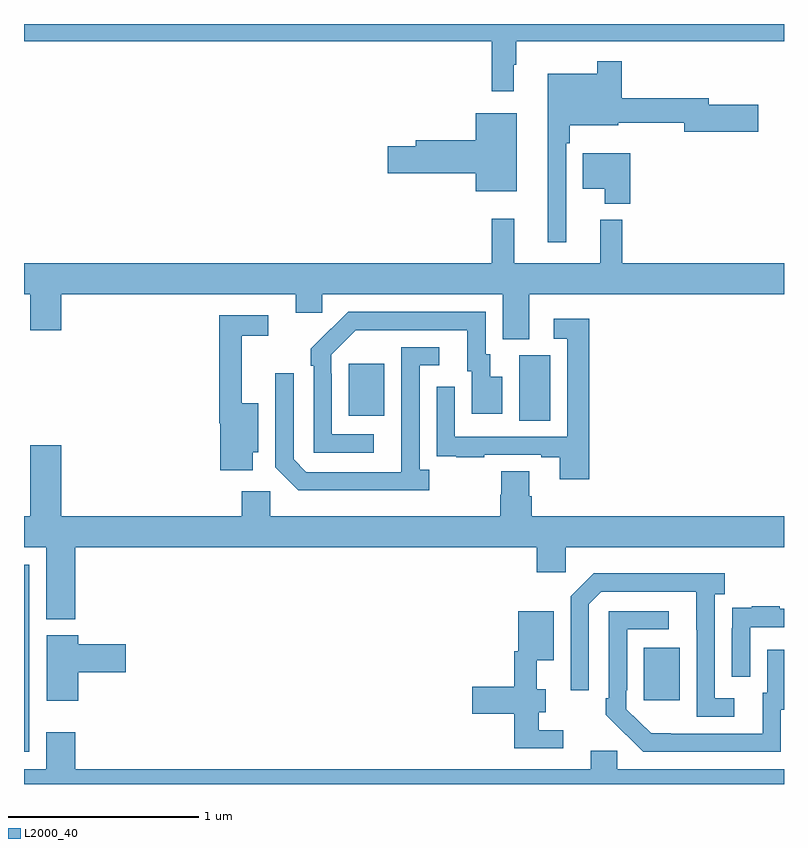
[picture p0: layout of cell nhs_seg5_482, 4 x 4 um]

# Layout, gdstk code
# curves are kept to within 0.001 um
import gdstk
lib = gdstk.Library(unit=1e-6, precision=1e-09)
def R(c, l, rs):  # rectangles x0, y0, x1, y1
    for r in rs: c.add(gdstk.rectangle(r[:2], r[2:], *l))
def P(c, l, *ps):  # polygons
    for p in ps: c.add(gdstk.Polygon(p, *l))
L2000_40 = (2000, 40)

nhs_seg5_482 = lib.new_cell('nhs_seg5_482')
R(nhs_seg5_482, L2000_40, [(141,904.968,141.027,905.952), (144.263,905.241,144.451,905.515), (143.606,906.712,143.77,907.056), (142.709,906.737,142.897,907.012)])
P(nhs_seg5_482, L2000_40, [(143.578,908.585),(143.59,908.585),(143.59,908.708),(145,908.708),(145,908.799),(141,908.799),(141,908.708),(143.461,908.708),(143.461,908.445),(143.578,908.445)],
  [(143.853,908.171),(143.873,908.171),(143.873,908.267),(144.127,908.267),(144.127,908.278),(144.476,908.278),(144.476,908.231),(144.865,908.231),(144.865,908.373),(144.604,908.373),(144.604,908.407),(144.146,908.407),(144.146,908.602),(144.018,908.602),(144.018,908.536),(143.756,908.536),(143.756,907.65),(143.853,907.65)],
  [(143.593,908.329),(143.378,908.329),(143.378,908.186),(143.063,908.186),(143.063,908.156),(142.914,908.156),(142.914,908.014),(143.378,908.014),(143.378,907.919),(143.593,907.919)],
  [(144.191,908.119),(143.942,908.119),(143.942,907.931),(144.056,907.931),(144.056,907.853),(144.191,907.853)],
  [(141,907.376),(141.032,907.376),(141.032,907.188),(141.196,907.188),(141.196,907.376),(142.43,907.376),(142.43,907.278),(142.569,907.278),(142.569,907.376),(143.519,907.376),(143.519,907.141),(143.659,907.141),(143.659,907.376),(145,907.376),(145,907.54),(144.149,907.54),(144.149,907.768),(144.032,907.768),(144.032,907.54),(143.579,907.54),(143.579,907.774),(143.461,907.774),(143.461,907.54),(141,907.54)],
  [(142.84,906.639),(142.62,906.639),(142.62,906.959),(142.617,906.959),(142.617,907.059),(142.746,907.188),(143.333,907.188),(143.333,906.972),(143.357,906.972),(143.357,906.747),(143.518,906.747),(143.518,906.943),(143.455,906.943),(143.455,907.062),(143.43,907.062),(143.43,907.284),(142.706,907.284),(142.509,907.089),(142.509,907.001),(142.524,907.001),(142.524,906.543),(142.84,906.543)],
  [(142.204,906.545),(142.234,906.545),(142.234,906.802),(142.145,906.802),(142.145,907.158),(142.285,907.158),(142.285,907.266),(142.027,907.266),(142.027,906.698),(142.034,906.698),(142.034,906.45),(142.204,906.45)],
  [(143.975,907.249),(143.787,907.249),(143.787,907.143),(143.859,907.143),(143.859,906.627),(143.268,906.627),(143.268,906.889),(143.172,906.889),(143.172,906.634),(143.173,906.634),(143.173,906.525),(143.275,906.525),(143.275,906.519),(143.423,906.519),(143.423,906.531),(143.723,906.531),(143.723,906.519),(143.819,906.519),(143.819,906.402),(143.975,906.402)],
  [(143.134,906.454),(143.082,906.454),(143.082,907.002),(143.185,907.002),(143.185,907.098),(142.986,907.098),(142.985,906.441),(142.485,906.441),(142.419,906.507),(142.419,906.961),(142.323,906.961),(142.323,906.465),(142.444,906.344),(143.134,906.344)],
  [(141.269,906.044),(143.699,906.044),(143.699,905.913),(143.85,905.913),(143.85,906.044),(145,906.044),(145,906.208),(143.672,906.208),(143.672,906.314),(143.659,906.314),(143.659,906.446),(143.512,906.446),(143.512,906.321),(143.507,906.321),(143.507,906.208),(142.296,906.208),(142.296,906.34),(142.145,906.34),(142.145,906.208),(141.196,906.208),(141.196,906.583),(141.032,906.583),(141.032,906.208),(141,906.208),(141,906.044),(141.116,906.044),(141.116,905.666),(141.269,905.666)],
  [(144.739,905.25),(144.636,905.25),(144.636,905.798),(144.688,905.798),(144.688,905.908),(143.998,905.908),(143.877,905.787),(143.877,905.292),(143.973,905.292),(143.973,905.745),(144.039,905.811),(144.539,905.811),(144.54,905.154),(144.739,905.154)],
  [(144.822,905.625),(145,905.625),(145,905.721),(144.977,905.721),(144.977,905.734),(144.829,905.734),(144.829,905.727),(144.727,905.727),(144.727,905.618),(144.726,905.618),(144.726,905.364),(144.822,905.364)],
  [(144.984,905.19),(145,905.19),(145,905.506),(144.911,905.506),(144.911,905.28),(144.887,905.28),(144.887,905.064),(144.3,905.065),(144.171,905.193),(144.171,905.293),(144.174,905.293),(144.174,905.613),(144.394,905.613),(144.394,905.709),(144.078,905.709),(144.078,905.251),(144.063,905.251),(144.063,905.163),(144.26,904.968),(144.984,904.968)],
  [(143.839,905.082),(143.71,905.082),(143.71,905.177),(143.746,905.177),(143.746,905.299),(143.699,905.299),(143.699,905.45),(143.788,905.45),(143.788,905.707),(143.6,905.707),(143.6,905.499),(143.581,905.499),(143.581,905.312),(143.358,905.312),(143.358,905.17),(143.581,905.17),(143.581,904.986),(143.839,904.986)],
  [(141.286,905.387),(141.535,905.387),(141.535,905.534),(141.286,905.534),(141.286,905.581),(141.119,905.581),(141.119,905.238),(141.286,905.238)],
  [(145,904.876),(144.123,904.876),(144.123,904.974),(143.984,904.974),(143.984,904.876),(141.269,904.876),(141.269,905.071),(141.116,905.071),(141.116,904.876),(141,904.876),(141,904.799),(145,904.799)])

lib.write_gds('nhs_seg5_482.gds')
